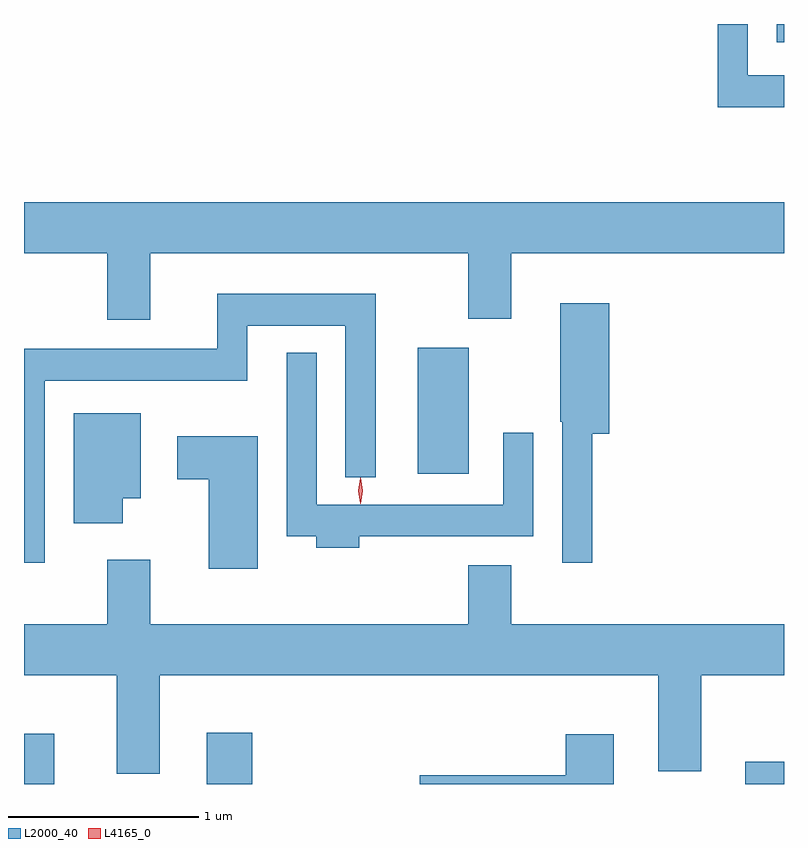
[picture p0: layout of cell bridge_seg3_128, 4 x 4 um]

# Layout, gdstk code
import gdstk
lib = gdstk.Library(unit=1e-6, precision=1e-09)
def R(c, l, rs):  # rectangles x0, y0, x1, y1
    for r in rs: c.add(gdstk.rectangle(r[:2], r[2:], *l))
def P(c, l, *ps):  # polygons
    for p in ps: c.add(gdstk.Polygon(p, *l))
L2000_40 = (2000, 40)
L4165_0 = (4165, 0)

bridge_seg3_128 = lib.new_cell('bridge_seg3_128')
R(bridge_seg3_128, L2000_40, [(902.866,1192.043,903.024,1192.308), (903.826,1192.043,904.064,1192.314), (906.661,1192.043,906.864,1192.159), (904.936,1193.676,905.204,1194.339), (906.826,1195.946,906.864,1196.043)])
P(bridge_seg3_128, L2000_40, [(906.864,1195.774),(906.674,1195.774),(906.674,1196.043),(906.516,1196.043),(906.516,1195.606),(906.864,1195.606)],
  [(903.529,1194.836),(905.201,1194.836),(905.201,1194.491),(905.429,1194.491),(905.429,1194.836),(906.864,1194.836),(906.864,1195.104),(902.864,1195.104),(902.864,1194.836),(903.301,1194.836),(903.301,1194.486),(903.529,1194.486)],
  [(902.974,1194.166),(904.039,1194.166),(904.039,1194.456),(904.556,1194.456),(904.556,1193.658),(904.714,1193.658),(904.714,1194.624),(903.881,1194.624),(903.881,1194.334),(902.864,1194.334),(902.864,1193.208),(902.974,1193.208)],
  [(905.854,1193.886),(905.944,1193.886),(905.944,1194.574),(905.686,1194.574),(905.686,1193.95),(905.696,1193.95),(905.696,1193.208),(905.854,1193.208)],
  [(904.629,1193.346),(905.544,1193.346),(905.544,1193.893),(905.386,1193.893),(905.386,1193.514),(904.404,1193.514),(904.404,1194.313),(904.246,1194.313),(904.246,1193.346),(904.401,1193.346),(904.401,1193.286),(904.629,1193.286)],
  [(903.384,1193.546),(903.479,1193.546),(903.479,1193.994),(903.126,1193.994),(903.126,1193.416),(903.384,1193.416)],
  [(904.094,1193.874),(903.671,1193.874),(903.671,1193.646),(903.836,1193.646),(903.836,1193.176),(904.094,1193.176)],
  [(903.579,1192.616),(906.201,1192.616),(906.201,1192.111),(906.429,1192.111),(906.429,1192.616),(906.864,1192.616),(906.864,1192.884),(905.429,1192.884),(905.429,1193.194),(905.201,1193.194),(905.201,1192.884),(903.529,1192.884),(903.529,1193.224),(903.301,1193.224),(903.301,1192.884),(902.864,1192.884),(902.864,1192.616),(903.351,1192.616),(903.351,1192.096),(903.579,1192.096)],
  [(905.969,1192.304),(905.716,1192.304),(905.716,1192.089),(904.946,1192.089),(904.946,1192.043),(905.969,1192.043)])
P(bridge_seg3_128, L4165_0, [(904.634,1193.52),(904.634,1193.52),(904.624,1193.586),(904.634,1193.652),(904.634,1193.653),(904.635,1193.652),(904.644,1193.586),(904.635,1193.52)],
  [(904.635,1193.517),(904.626,1193.587),(904.635,1193.656),(904.636,1193.656),(904.636,1193.656),(904.646,1193.587),(904.636,1193.517),(904.636,1193.517)])

lib.write_gds('bridge_seg3_128.gds')
